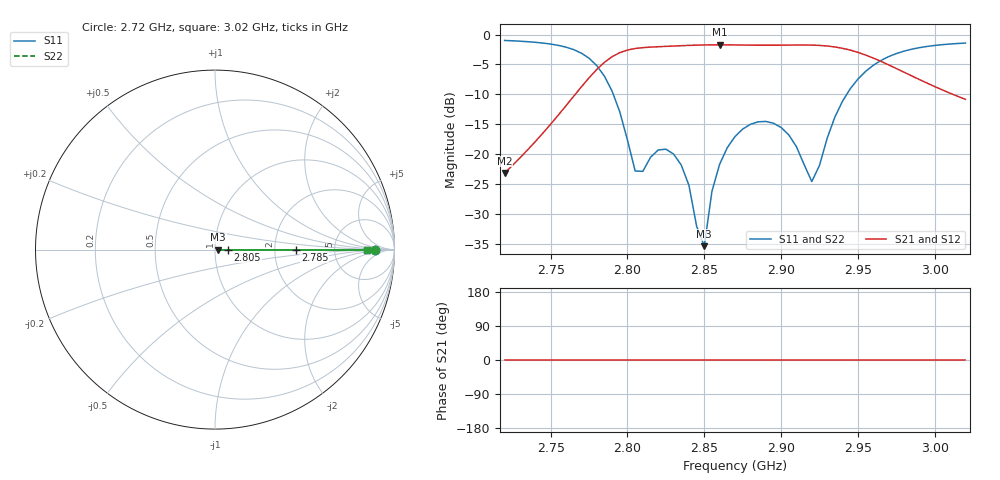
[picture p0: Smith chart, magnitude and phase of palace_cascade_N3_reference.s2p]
! Palace fine-mesh S-parameters of the FABRICATED cascade N=3 (end cavities trimmed -0.3 mm),
! from golden/cascade_N3/l_cav133.94_l_cav235.5_l_taper15.74_w_ext13.96_w_iris14.42_w_ms1.66_cpwg_taoglas.s11s21.json.
! MAGNITUDE ONLY: phase is set to 0 (golden stores |S| in dB). Symmetric/reciprocal: S22=S11, S12=S21.
# GHz S DB R 50
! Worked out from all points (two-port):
!   61 points, 2.72 GHz to 3.02 GHz, reference 50 ohm
!   highest |S21| = -1.70 dB at 2.86 GHz (marker M1); lowest = -23.2 dB at 2.72 GHz (marker M2)
!   |S21| within 3 dB of the highest: 2.785 GHz to 2.967 GHz (182.3 MHz wide, 6.34 % of centre)
!   lowest |S11| = -35.4 dB at 2.85 GHz (marker M3), VSWR 1.03, Z = 51.7 + j0 ohm
!   |S11| at or under -10 dB: 2.791 GHz to 2.943 GHz (152 MHz wide, 5.3 % of centre)
!   |S22| runs from -35.4 to -1.0 dB; largest |S21 - S12| = 0
!   S11 on the Smith chart (normalised r, x): 2.72 GHz: 18, +0; 2.785 GHz: 2.63, +0.00; 2.805 GHz: 1.16, +0.00; 3.02 GHz: 12, +0
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2.72  -0.98 0.0  -23.17 0.0  -23.17 0.0  -0.98 0.0
2.75  -1.58 0.0  -14.99 0.0  -14.99 0.0  -1.58 0.0
2.77  -3.10 0.0  -8.74 0.0  -8.74 0.0  -3.10 0.0
2.785  -6.96 0.0  -4.63 0.0  -4.63 0.0  -6.96 0.0
2.795  -12.94 0.0  -3.02 0.0  -3.02 0.0  -12.94 0.0
2.805  -22.83 0.0  -2.33 0.0  -2.33 0.0  -22.83 0.0
2.81  -22.89 0.0  -2.18 0.0  -2.18 0.0  -22.89 0.0
2.82  -19.31 0.0  -2.03 0.0  -2.03 0.0  -19.31 0.0
2.835  -21.84 0.0  -1.86 0.0  -1.86 0.0  -21.84 0.0
2.845  -32.07 0.0  -1.76 0.0  -1.76 0.0  -32.07 0.0
2.85  -35.42 0.0  -1.73 0.0  -1.73 0.0  -35.42 0.0
2.855  -26.22 0.0  -1.71 0.0  -1.71 0.0  -26.22 0.0
2.86  -21.70 0.0  -1.70 0.0  -1.70 0.0  -21.70 0.0
2.87  -17.07 0.0  -1.72 0.0  -1.72 0.0  -17.07 0.0
2.885  -14.60 0.0  -1.77 0.0  -1.77 0.0  -14.60 0.0
2.9  -15.54 0.0  -1.77 0.0  -1.77 0.0  -15.54 0.0
2.91  -18.76 0.0  -1.74 0.0  -1.74 0.0  -18.76 0.0
2.92  -24.60 0.0  -1.76 0.0  -1.76 0.0  -24.60 0.0
2.94  -11.15 0.0  -2.29 0.0  -2.29 0.0  -11.15 0.0
2.955  -6.16 0.0  -3.42 0.0  -3.42 0.0  -6.16 0.0
2.97  -3.69 0.0  -5.06 0.0  -5.06 0.0  -3.69 0.0
3.02  -1.42 0.0  -10.83 0.0  -10.83 0.0  -1.42 0.0
